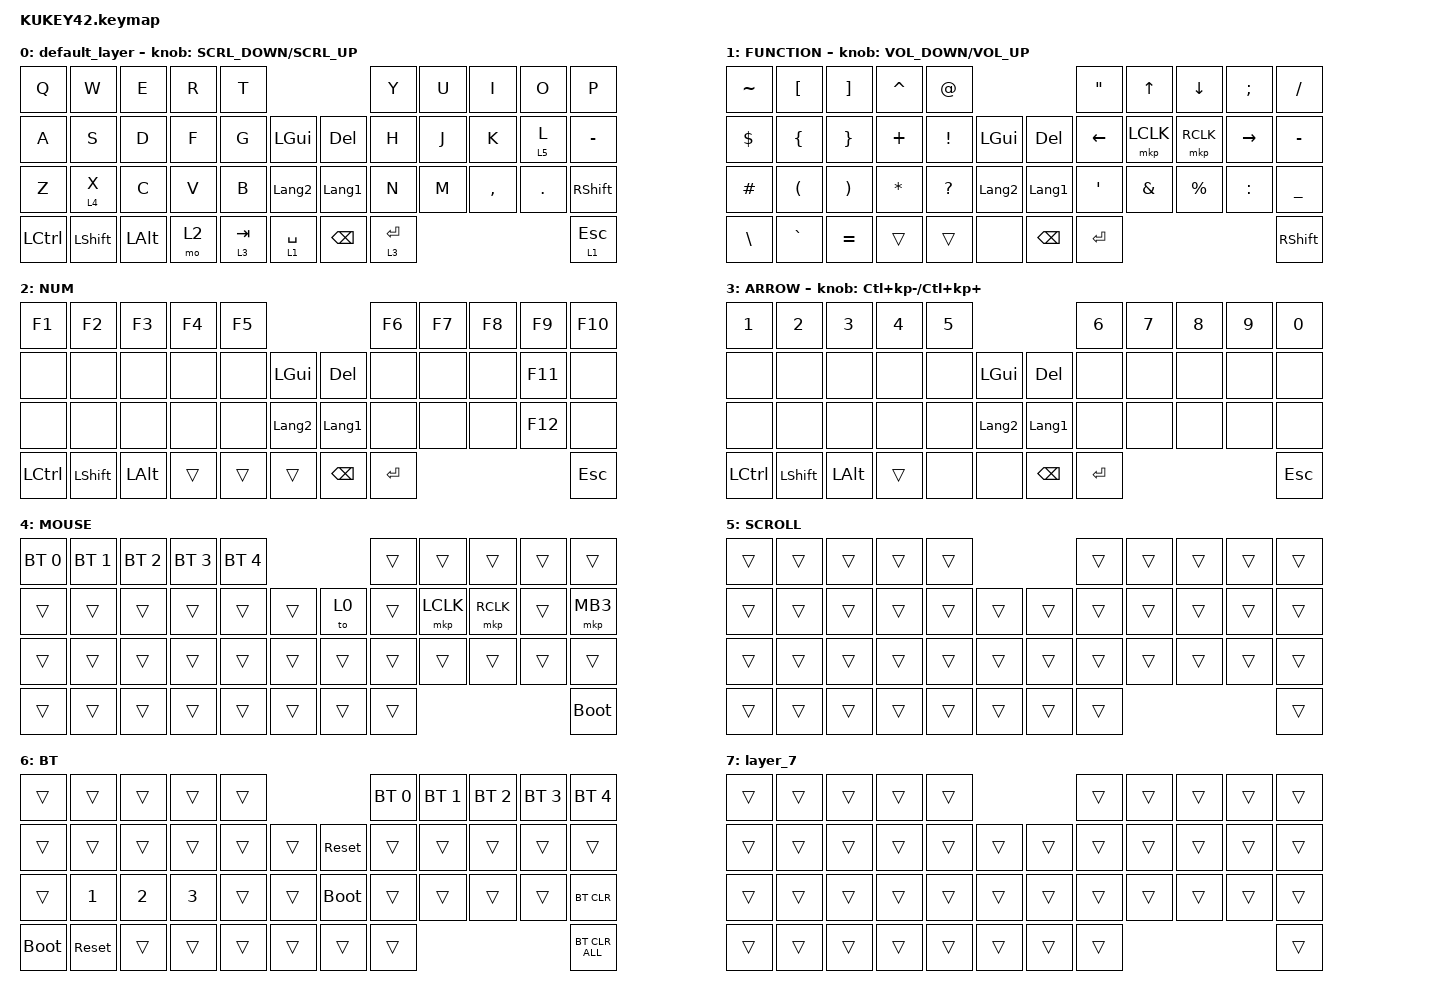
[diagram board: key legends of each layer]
#define ZMK_POINTING_DEFAULT_SCRL_VAL 80

#include <behaviors.dtsi>
#include <dt-bindings/zmk/bt.h>
#include <dt-bindings/zmk/keys.h>
#include <dt-bindings/zmk/pointing.h>

#define MOUSE 4
#define SCROLL 5
#define NUM 6

&mt {
    flavor = "balanced";
    quick-tap-ms = <0>;
};

/ {
    combos { compatible = "zmk,combos"; };

    macros {
        to_layer_0: to_layer_0 {
            compatible = "zmk,behavior-macro-one-param";
            #binding-cells = <1>;
            bindings = <&to 0 &macro_param_1to1 &kp MACRO_PLACEHOLDER>;
            label = "TO_LAYER_0";
        };
    };

    behaviors {
        lt_to_layer_0: lt_to_layer_0 {
            compatible = "zmk,behavior-hold-tap";
            label = "LAYER_TAP_TO_0";
            bindings = <&mo>, <&to_layer_0>;

            #binding-cells = <2>;
            tapping-term-ms = <200>;
        };

        tapdance_kana: tapdance_kana {
            compatible = "zmk,behavior-tap-dance";
            label = "TAPDANCE_KANA";
            #binding-cells = <0>;
            bindings = <&kp INT2>, <&kp LANGUAGE_2>, <&sl 1>;

            tapping-term-ms = <400>;
        };

        WheelScroll: WheelScroll {
            compatible = "zmk,behavior-sensor-rotate-var";
            label = "WHEELSCROLL";
            #sensor-binding-cells = <2>;
            bindings = <&msc>, <&msc>;

            tap-ms = <20>;
        };
    };

    keymap {
        compatible = "zmk,keymap";

        default_layer {
            bindings = <
&kp Q      &kp W           &kp E         &kp R  &kp T                                          &kp Y        &kp U  &kp I      &kp O    &kp P
&kp A      &kp S           &kp D         &kp F  &kp G      &kp LEFT_GUI        &kp DELETE      &kp H        &kp J  &kp K      &lt 5 L  &kp MINUS
&kp Z      &lt 4 X         &kp C         &kp V  &kp B      &kp LANGUAGE_2      &kp LANGUAGE_1  &kp N        &kp M  &kp COMMA  &kp DOT  &kp RIGHT_SHIFT
&kp LCTRL  &kp LEFT_SHIFT  &kp LEFT_ALT  &mo 2  &lt 3 TAB  &lt 1 SPACE         &kp BACKSPACE   &lt 3 ENTER                             &lt 1 ESCAPE
            >;

            sensor-bindings = <&WheelScroll SCRL_DOWN SCRL_UP>;
        };

        FUNCTION {
            bindings = <
&kp TILDE      &kp LEFT_BRACKET      &kp RIGHT_BRACKET      &kp CARET  &kp AT                                            &kp DOUBLE_QUOTES  &kp UP         &kp DOWN     &kp SEMI   &kp SLASH
&kp DOLLAR     &kp LEFT_BRACE        &kp RIGHT_BRACE        &kp PLUS   &kp EXCL      &kp LEFT_GUI        &kp DEL         &kp LEFT           &mkp LCLK      &mkp RCLK    &kp RIGHT  &kp MINUS
&kp HASH       &kp LEFT_PARENTHESIS  &kp RIGHT_PARENTHESIS  &kp ASTRK  &kp QUESTION  &kp LANGUAGE_2      &kp LANGUAGE_1  &kp SINGLE_QUOTE   &kp AMPERSAND  &kp PERCENT  &kp COLON  &kp UNDERSCORE
&kp BACKSLASH  &kp GRAVE             &kp EQUAL              &trans     &trans        &none               &kp BACKSPACE   &kp ENTER                                                 &kp RIGHT_SHIFT
            >;

            sensor-bindings = <&inc_dec_kp C_VOLUME_DOWN C_VOLUME_UP>;
        };

        NUM {
            bindings = <
&kp F1            &kp F2          &kp F3        &kp F4  &kp F5                                      &kp F6     &kp F7  &kp F8  &kp F9   &kp F10
&none             &none           &none         &none   &none   &kp LEFT_GUI        &kp DEL         &none      &none   &none   &kp F11  &none
&none             &none           &none         &none   &none   &kp LANGUAGE_2      &kp LANGUAGE_1  &none      &none   &none   &kp F12  &none
&kp LEFT_CONTROL  &kp LEFT_SHIFT  &kp LEFT_ALT  &trans  &trans  &trans              &kp BACKSPACE   &kp ENTER                           &kp ESCAPE
            >;
        };

        ARROW {
            bindings = <
&kp NUMBER_1      &kp NUMBER_2    &kp NUMBER_3  &kp NUMBER_4  &kp NUMBER_5                                      &kp NUMBER_6  &kp NUMBER_7  &kp NUMBER_8  &kp NUMBER_9  &kp NUMBER_0
&none             &none           &none         &none         &none         &kp LEFT_GUI        &kp DELETE      &none         &none         &none         &none         &none
&none             &none           &none         &none         &none         &kp LANGUAGE_2      &kp LANGUAGE_1  &none         &none         &none         &none         &none
&kp LEFT_CONTROL  &kp LEFT_SHIFT  &kp LEFT_ALT  &trans        &none         &none               &kp BACKSPACE   &kp ENTER                                               &kp ESCAPE
            >;

            sensor-bindings = <&inc_dec_kp LC(KP_MINUS) LC(KP_PLUS)>;
        };

        MOUSE {
            bindings = <
&bt BT_SEL 0  &bt BT_SEL 1  &bt BT_SEL 2  &bt BT_SEL 3  &bt BT_SEL 4                      &trans  &trans     &trans     &trans  &trans
&trans        &trans        &trans        &trans        &trans        &trans      &to 0   &trans  &mkp LCLK  &mkp RCLK  &trans  &mkp MB3
&trans        &trans        &trans        &trans        &trans        &trans      &trans  &trans  &trans     &trans     &trans  &trans
&trans        &trans        &trans        &trans        &trans        &trans      &trans  &trans                                &bootloader
            >;
        };

        SCROLL {
            bindings = <
&trans  &trans  &trans  &trans  &trans                      &trans  &trans  &trans  &trans  &trans
&trans  &trans  &trans  &trans  &trans  &trans      &trans  &trans  &trans  &trans  &trans  &trans
&trans  &trans  &trans  &trans  &trans  &trans      &trans  &trans  &trans  &trans  &trans  &trans
&trans  &trans  &trans  &trans  &trans  &trans      &trans  &trans                          &trans
            >;
        };

        BT {
            bindings = <
&trans       &trans        &trans        &trans        &trans                           &bt BT_SEL 0  &bt BT_SEL 1  &bt BT_SEL 2  &bt BT_SEL 3  &bt BT_SEL 4
&trans       &trans        &trans        &trans        &trans  &trans      &sys_reset   &trans        &trans        &trans        &trans        &trans
&trans       &kp NUMBER_1  &kp NUMBER_2  &kp NUMBER_3  &trans  &trans      &bootloader  &trans        &trans        &trans        &trans        &bt BT_CLR
&bootloader  &sys_reset    &trans        &trans        &trans  &trans      &trans       &trans                                                  &bt BT_CLR_ALL
            >;
        };

        layer_7 {
            bindings = <
&trans  &trans  &trans  &trans  &trans                      &trans  &trans  &trans  &trans  &trans
&trans  &trans  &trans  &trans  &trans  &trans      &trans  &trans  &trans  &trans  &trans  &trans
&trans  &trans  &trans  &trans  &trans  &trans      &trans  &trans  &trans  &trans  &trans  &trans
&trans  &trans  &trans  &trans  &trans  &trans      &trans  &trans                          &trans
            >;
        };
    };
};
